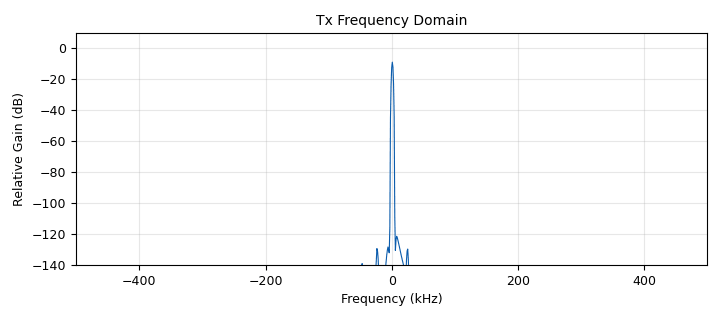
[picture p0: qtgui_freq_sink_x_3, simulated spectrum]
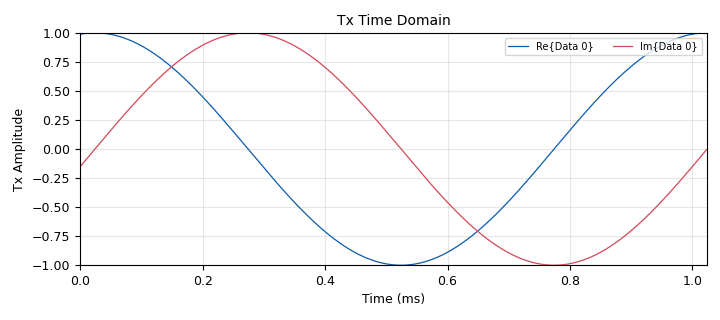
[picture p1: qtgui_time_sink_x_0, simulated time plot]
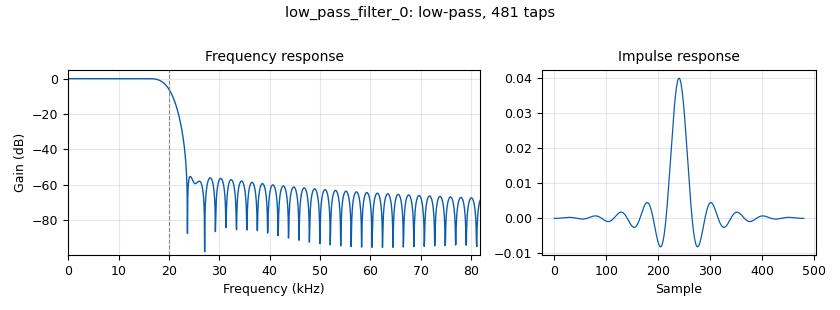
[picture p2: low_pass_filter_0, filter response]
options:
  parameters:
    author: atsy_
    generate_options: qt_gui
    id: audo_fmcw_test
    output_language: python
    title: Not titled yet
  states: {}

blocks:
- name: band_rej_row
  id: variable
  parameters:
    value: '5'
  states: {}
- name: buffer_size
  id: variable
  parameters:
    value: '32768'
  states: {}
- name: bw
  id: variable
  parameters:
    value: 500e3
  states: {}
- name: delta_r
  id: variable
  parameters:
    value: 3e8/(2*bw)
  states: {}
- name: duration
  id: variable
  parameters:
    value: '0.0005'
  states: {}
- name: freq
  id: variable
  parameters:
    value: 1e3
  states: {}
- name: lpf_row
  id: variable
  parameters:
    value: '4'
  states: {}
- name: pi
  id: variable
  parameters:
    value: math.pi
  states: {}
- name: rx_gain
  id: variable_qtgui_range
  parameters:
    gui_hint: rx_row, 0
    start: '0'
    step: '1'
    stop: '70'
    value: '40'
  states: {}
- name: rx_row
  id: variable
  parameters:
    value: '2'
  states: {}
- name: samp_rate
  id: variable
  parameters:
    value: 1e6
  states: {}
- name: tx_attenuation
  id: variable_qtgui_range
  parameters:
    gui_hint: tx_row, 0
    start: '0'
    step: '1'
    stop: '70'
    value: '10'
  states: {}
- name: tx_row
  id: variable
  parameters:
    value: '0'
  states: {}
- name: vco_sensitivity
  id: variable
  parameters:
    value: 2*bw*pi
  states: {}
- name: analog_sig_source_x_0
  id: analog_sig_source_x
  parameters:
    amp: '1'
    freq: freq
    offset: '0'
    phase: '0'
    samp_rate: samp_rate
    type: float
    waveform: analog.GR_SAW_WAVE
  states: {state: disabled}
- name: analog_sig_source_x_1
  id: analog_sig_source_x
  parameters:
    amp: '1'
    freq: '1000'
    offset: '0'
    phase: '0'
    samp_rate: samp_rate
    type: complex
    waveform: analog.GR_COS_WAVE
  states: {}
- name: blocks_complex_to_real_1
  id: blocks_complex_to_real
  parameters: {}
  states: {state: disabled}
- name: blocks_multiply_conjugate_cc_0
  id: blocks_multiply_conjugate_cc
  parameters: {}
  states: {}
- name: blocks_vco_c_0
  id: blocks_vco_c
  parameters:
    amplitude: '1.0'
    samp_rate: samp_rate
    sensitivity: vco_sensitivity
  states: {state: disabled}
- name: epy_block_0
  id: epy_block
  parameters:
    _source_code: |
      """
      Embedded Python Blocks:

      Each time this file is saved, GRC will instantiate the first class it finds
      to get ports and parameters of your block. The arguments to __init__  will
      be the parameters. All of them are required to have default values!
      """

      import numpy as np
      from gnuradio import gr


      class blk(gr.sync_block):
          def __init__(self, samp_rate=1e6, bw=100e3, duration=70e-6, total_samples=70, duty_cycle=0.7):
              gr.sync_block.__init__(
                  self,
                  name="FMCW Ramp with Idle",
                  in_sig=None,
                  out_sig=[np.float32]
              )

              self.duty_cycle = duty_cycle
              self.samp_rate = int(samp_rate)
              self.bw = bw
              self.duration = duration
              self.total_samples = int(total_samples)

              self.n_chirp = int(self.total_samples * self.duty_cycle)
              self.n_idle = int(self.total_samples - self.n_chirp)

              # Chirp ramp from -1 to 1 (control input for VCO)
              self.chirp = np.linspace(0, 1.0, self.n_chirp, dtype=np.float32)
              self.idle = np.zeros(self.n_idle, dtype=np.float32)
              # self.idle = np.linspace(1.0, 0, self.n_idle, dtype=np.float32)
              self.frame = np.concatenate((self.chirp, self.idle))
              self.ptr = 0

          def work(self, input_items, output_items):
              out = output_items[0]

              for i in range(len(out)):
                  out[i] = self.frame[self.ptr]
                  self.ptr = (self.ptr + 1) % self.total_samples
              return len(out)
    bw: bw
    duration: duration
    duty_cycle: '0.7'
    samp_rate: samp_rate
    total_samples: samp_rate * duration
  states: {state: disabled}
- name: epy_block_1
  id: epy_block
  parameters:
    _source_code: |
      """
      Embedded Python Blocks:

      Each time this file is saved, GRC will instantiate the first class it finds
      to get ports and parameters of your block. The arguments to __init__  will
      be the parameters. All of them are required to have default values!
      """

      import numpy as np
      from gnuradio import gr

      class blk(gr.sync_block):
          def __init__(self, samp_rate=1e6, bw=100e3, duration=70e-6, total_samples=70):
              gr.sync_block.__init__(
                  self,
                  name="Tagged Complex FMCW Chirp",
                  in_sig=None,
                  out_sig=[np.complex64]
              )

              self.samp_rate = int(samp_rate)
              self.bw = bw
              self.duration = duration
              self.total_samples = int(total_samples)

              self.n_chirp = int(duration * samp_rate)
              self.n_idle = self.total_samples - self.n_chirp

              # Time vector for chirp
              t = np.arange(self.n_chirp) / self.samp_rate
              slope = (2 * self.bw) / self.duration  # Hz/s

              # Instantaneous phase: phi(t) = 2π(f0 t + ½ S t²)
              phase = 2 * np.pi * (-self.bw * t + 0.5 * slope * t**2)
              chirp = np.exp(1j * phase).astype(np.complex64)

              # Combine chirp + idle (silence)
              idle = np.zeros(self.n_idle, dtype=np.complex64)
              self.frame = np.concatenate((chirp, idle))

              self.ptr = 0
              self.abs_sample_count = 0  # Needed for tagging

          def work(self, input_items, output_items):
              out = output_items[0]
              n = len(out)

              for i in range(n):
                  out[i] = self.frame[self.ptr]

                  self.ptr = (self.ptr + 1) % self.total_samples
                  self.abs_sample_count += 1

              return n
    bw: bw
    duration: duration
    samp_rate: samp_rate
    total_samples: samp_rate * duration
  states: {state: disabled}
- name: iio_pluto_sink_0
  id: iio_pluto_sink
  parameters:
    attenuation1: '10.0'
    bandwidth: '20000000'
    buffer_size: '32768'
    cyclic: 'False'
    filter_source: '''Auto'''
    frequency: '2400000000'
    samplerate: int(samp_rate)
    type: fc32
    uri: ip:192.168.2.1
  states: {state: disabled}
- name: iio_pluto_source_0
  id: iio_pluto_source
  parameters:
    bandwidth: '20000000'
    bbdc: 'True'
    buffer_size: '32768'
    filter_source: '''Auto'''
    frequency: '2400000000'
    gain1: '''slow_attack'''
    quadrature: 'True'
    rfdc: 'True'
    samplerate: int(samp_rate)
    type: fc32
    uri: ip:192.168.2.1
  states: {state: disabled}
- name: import_0
  id: import
  parameters:
    imports: import math
  states: {}
- name: low_pass_filter_0
  id: low_pass_filter
  parameters:
    cutoff_freq: 20e3
    decim: '1'
    gain: '1'
    samp_rate: samp_rate
    type: fir_filter_ccf
    width: 5e3
    win: window.WIN_HAMMING
  states: {}
- name: qtgui_freq_sink_x_0
  id: qtgui_freq_sink_x
  parameters:
    bw: samp_rate
    fc: '0'
    fftsize: '4096'
    gui_hint: lpf_row, 1, 1, 1
    name: '"RX Frequency Domain"'
    type: complex
  states: {}
- name: qtgui_freq_sink_x_1
  id: qtgui_freq_sink_x
  parameters:
    bw: samp_rate
    fc: '0'
    fftsize: '4096'
    gui_hint: rx_row+1, 1, 1, 1
    label1: Rx Frequency Domain
    name: '"Rx Frequency Domain"'
    norm_window: 'True'
    type: complex
  states: {}
- name: qtgui_freq_sink_x_3
  id: qtgui_freq_sink_x
  parameters:
    bw: samp_rate
    fc: '0'
    fftsize: '1024'
    gui_hint: tx_row+1,1, 1, 1
    name: '"Tx Frequency Domain"'
    type: complex
  states: {}
- name: qtgui_time_sink_x_0
  id: qtgui_time_sink_x
  parameters:
    entags: 'False'
    gui_hint: tx_row+1, 0, 1, 1
    label1: ''
    name: '"Tx Time Domain"'
    size: '1024'
    srate: samp_rate
    type: complex
    update_time: '0.1'
    ylabel: Tx Amplitude
  states: {}
- name: qtgui_time_sink_x_1
  id: qtgui_time_sink_x
  parameters:
    gui_hint: lpf_row, 0, 1, 1
    label1: '"RX Time Domain"'
    size: 1024*4
    srate: samp_rate
    type: complex
    yunit: '"LPF Time Domain"'
  states: {}
- name: qtgui_time_sink_x_2
  id: qtgui_time_sink_x
  parameters:
    gui_hint: rx_row+1, 0, 1, 1
    label1: Rx Time Domain
    name: '"Rx Time Domain"'
    size: 1024*4
    srate: samp_rate
    type: complex
  states: {}
- name: qtgui_waterfall_sink_x_0
  id: qtgui_waterfall_sink_x
  parameters:
    bw: samp_rate
    fc: '0'
    fftsize: '2048'
    gui_hint: lpf_row,2, 1, 1
    type: float
  states: {state: disabled}
- name: uhd_usrp_sink_0
  id: uhd_usrp_sink
  parameters:
    ant0: '"TX/RX"'
    center_freq0: 2.4e9
    dev_addr: serial=3277296
    gain0: '10'
    samp_rate: samp_rate
    sync: sync
    type: fc32
  states: {}
- name: uhd_usrp_source_0
  id: uhd_usrp_source
  parameters:
    ant0: '"RX2"'
    center_freq0: 2.4e9
    dev_addr: serial=3277296
    gain0: '30'
    samp_rate: samp_rate
    sync: sync
    type: fc32
  states: {}

connections:
- [analog_sig_source_x_0, '0', blocks_vco_c_0, '0']
- [analog_sig_source_x_1, '0', blocks_multiply_conjugate_cc_0, '1']
- [analog_sig_source_x_1, '0', iio_pluto_sink_0, '0']
- [analog_sig_source_x_1, '0', qtgui_freq_sink_x_3, '0']
- [analog_sig_source_x_1, '0', qtgui_time_sink_x_0, '0']
- [analog_sig_source_x_1, '0', uhd_usrp_sink_0, '0']
- [blocks_complex_to_real_1, '0', qtgui_waterfall_sink_x_0, '0']
- [blocks_multiply_conjugate_cc_0, '0', low_pass_filter_0, '0']
- [blocks_vco_c_0, '0', blocks_multiply_conjugate_cc_0, '1']
- [blocks_vco_c_0, '0', qtgui_freq_sink_x_3, '0']
- [blocks_vco_c_0, '0', qtgui_time_sink_x_0, '0']
- [blocks_vco_c_0, '0', uhd_usrp_sink_0, '0']
- [epy_block_0, '0', blocks_vco_c_0, '0']
- [iio_pluto_source_0, '0', blocks_multiply_conjugate_cc_0, '0']
- [low_pass_filter_0, '0', qtgui_freq_sink_x_0, '0']
- [low_pass_filter_0, '0', qtgui_time_sink_x_1, '0']
- [uhd_usrp_source_0, '0', blocks_multiply_conjugate_cc_0, '0']
- [uhd_usrp_source_0, '0', qtgui_freq_sink_x_1, '0']
- [uhd_usrp_source_0, '0', qtgui_time_sink_x_2, '0']

metadata:
  file_format: 1
  grc_version: 3.10.10.0
